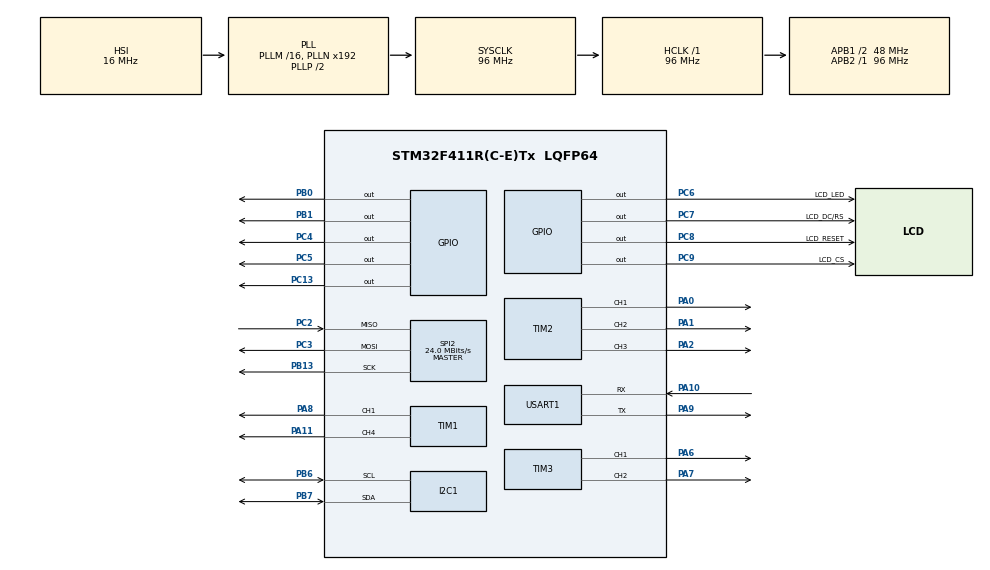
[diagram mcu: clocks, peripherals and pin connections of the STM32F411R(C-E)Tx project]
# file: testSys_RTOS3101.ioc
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FREERTOS.Tasks01=Task1,0,128,StartTask1,Default,NULL,Dynamic,NULL,NULL;Task2,-3,128,StartTask02,Default,NULL,Dynamic,NULL,NULL
Mcu.Family=STM32F4
Mcu.Name=STM32F411R(C-E)Tx
Mcu.Package=LQFP64
NVIC.PriorityGroup=NVIC_PRIORITYGROUP_4
NVIC.SPI2_IRQn=true\:5\:0\:false\:false\:true\:true\:true\:true
NVIC.TIM2_IRQn=true\:5\:0\:true\:false\:true\:false\:true\:true
NVIC.TIM3_IRQn=true\:5\:0\:false\:false\:true\:true\:true\:true
NVIC.TIM4_IRQn=true\:0\:0\:false\:false\:true\:false\:false\:true
NVIC.TimeBase=TIM4_IRQn
NVIC.TimeBaseIP=TIM4
NVIC.USART1_IRQn=true\:5\:0\:false\:false\:true\:true\:true\:true
PA0-WKUP.Signal=S_TIM2_CH1_ETR
PA1.Signal=S_TIM2_CH2
PA10.Mode=Asynchronous
PA10.Signal=USART1_RX
PA11.Signal=S_TIM1_CH4
PA2.Signal=S_TIM2_CH3
PA6.Signal=S_TIM3_CH1
PA7.Signal=S_TIM3_CH2
PA8.Signal=S_TIM1_CH1
PA9.Mode=Asynchronous
PA9.Signal=USART1_TX
PB0.Signal=GPIO_Output
PB1.Signal=GPIO_Output
PB13.Mode=Full_Duplex_Master
PB13.Signal=SPI2_SCK
PB6.Mode=I2C
PB6.Signal=I2C1_SCL
PB7.Mode=I2C
PB7.Signal=I2C1_SDA
PC13-ANTI_TAMP.Signal=GPIO_Output
PC2.Mode=Full_Duplex_Master
PC2.Signal=SPI2_MISO
PC3.Mode=Full_Duplex_Master
PC3.Signal=SPI2_MOSI
PC4.Signal=GPIO_Output
PC5.Signal=GPIO_Output
PC6.GPIO_Label=LCD_LED
PC6.GPIO_ModeDefaultOutputPP=GPIO_MODE_OUTPUT_PP
PC6.GPIO_PuPd=GPIO_NOPULL
PC6.GPIO_Speed=GPIO_SPEED_FREQ_LOW
PC6.PinState=GPIO_PIN_SET
PC6.Signal=GPIO_Output
PC7.GPIO_Label=LCD_DC/RS
PC7.GPIO_ModeDefaultOutputPP=GPIO_MODE_OUTPUT_PP
PC7.GPIO_PuPd=GPIO_NOPULL
PC7.GPIO_Speed=GPIO_SPEED_FREQ_LOW
PC7.PinState=GPIO_PIN_SET
PC7.Signal=GPIO_Output
PC8.GPIO_Label=LCD_RESET
PC8.GPIO_ModeDefaultOutputPP=GPIO_MODE_OUTPUT_PP
PC8.GPIO_PuPd=GPIO_NOPULL
PC8.GPIO_Speed=GPIO_SPEED_FREQ_LOW
PC8.PinState=GPIO_PIN_SET
PC8.Signal=GPIO_Output
PC9.GPIO_Label=LCD_CS
PC9.GPIO_ModeDefaultOutputPP=GPIO_MODE_OUTPUT_PP
PC9.GPIO_PuPd=GPIO_NOPULL
PC9.GPIO_Speed=GPIO_SPEED_FREQ_LOW
PC9.PinState=GPIO_PIN_SET
PC9.Signal=GPIO_Output
PH0\ -\ OSC_IN.Mode=HSE-External-Oscillator
PH0\ -\ OSC_IN.Signal=RCC_OSC_IN
PH1\ -\ OSC_OUT.Mode=HSE-External-Oscillator
PH1\ -\ OSC_OUT.Signal=RCC_OSC_OUT
ProjectManager.HeapSize=0x200
ProjectManager.StackSize=0x400
ProjectManager.TargetToolchain=STM32CubeIDE
RCC.48MHZClocksFreq_Value=48000000
RCC.AHBFreq_Value=96000000
RCC.APB1CLKDivider=RCC_HCLK_DIV2
RCC.APB1Freq_Value=48000000
RCC.APB1TimFreq_Value=96000000
RCC.APB2Freq_Value=96000000
RCC.APB2TimFreq_Value=96000000
RCC.CortexFreq_Value=96000000
RCC.HCLKFreq_Value=96000000
RCC.HSE_VALUE=25000000
RCC.HSI_VALUE=16000000
RCC.LSE_VALUE=32768
RCC.SYSCLKFreq_VALUE=96000000
RCC.SYSCLKSource=RCC_SYSCLKSOURCE_PLLCLK
RCC.VCOOutputFreq_Value=192000000
SH.S_TIM1_CH1.0=TIM1_CH1,PWM Generation1 CH1
SH.S_TIM1_CH4.0=TIM1_CH4,PWM Generation4 CH4
SH.S_TIM2_CH1_ETR.0=TIM2_CH1,PWM Generation1 CH1
SH.S_TIM2_CH2.0=TIM2_CH2,PWM Generation2 CH2
SH.S_TIM2_CH3.0=TIM2_CH3,PWM Generation3 CH3
SH.S_TIM3_CH1.0=TIM3_CH1,PWM Generation1 CH1
SH.S_TIM3_CH2.0=TIM3_CH2,PWM Generation2 CH2
SPI2.BaudRatePrescaler=SPI_BAUDRATEPRESCALER_2
SPI2.CalculateBaudRate=24.0 MBits/s
SPI2.Direction=SPI_DIRECTION_2LINES
SPI2.Mode=SPI_MODE_MASTER
SPI2.VirtualType=VM_MASTER
TIM1.Channel-PWM\ Generation1\ CH1=TIM_CHANNEL_1
TIM1.Channel-PWM\ Generation4\ CH4=TIM_CHANNEL_4
TIM2.Channel-PWM\ Generation1\ CH1=TIM_CHANNEL_1
TIM2.Channel-PWM\ Generation2\ CH2=TIM_CHANNEL_2
TIM2.Channel-PWM\ Generation3\ CH3=TIM_CHANNEL_3
TIM3.Channel-PWM\ Generation1\ CH1=TIM_CHANNEL_1
TIM3.Channel-PWM\ Generation2\ CH2=TIM_CHANNEL_2
USART1.VirtualMode=VM_ASYNC
VP_FREERTOS_VS_CMSIS_V1.Mode=CMSIS_V1
VP_SYS_VS_tim4.Mode=TIM4
board=custom

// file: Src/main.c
/* USER CODE BEGIN Header */
/**
  ******************************************************************************
  * @file           : main.c
  * @brief          : Main program body
  ******************************************************************************
  * @attention
  *
  * <h2><center>&copy; Copyright (c) 2020 STMicroelectronics.
  * All rights reserved.</center></h2>
  *
  * This software component is licensed by ST under Ultimate Liberty license
  * SLA0044, the "License"; You may not use this file except in compliance with
  * the License. You may obtain a copy of the License at:
  *                             www.st.com/SLA0044
  *
  ******************************************************************************
  */
/* USER CODE END Header */

#include "main.h"
#include "cmsis_os.h"
#include"string.h"
#include "stm32f4xx_hal.h"
#include "tft_spi.h"
#include "myimage.h"
#include "stdio.h"
#include "stdlib.h"
#include "stdbool.h"

I2C_HandleTypeDef hi2c1;

SPI_HandleTypeDef hspi2;

TIM_HandleTypeDef htim1;
TIM_HandleTypeDef htim2;
TIM_HandleTypeDef htim3;

UART_HandleTypeDef huart1;

osThreadId Task1Handle;
osThreadId Task2Handle;

/* USER CODE BEGIN PV */
extern uint16_t BACK_COLOR, POINT_COLOR;
/* USER CODE END PV */

void SystemClock_Config(void);
static void MX_GPIO_Init(void);
static void MX_I2C1_Init(void);
static void MX_SPI2_Init(void);
static void MX_TIM1_Init(void);
static void MX_TIM2_Init(void);
static void MX_TIM3_Init(void);
static void MX_USART1_UART_Init(void);
void StartTask1(void const * argument);
void StartTask02(void const * argument);
void IAQform(void);
void FrameUART(void);
void Convertvalue(void);
void CheckUART(void);

/* USER CODE BEGIN PFP */
uint16_t count=0;
char buffer5[20];
int tmpIntPM1,tmpIntte1,tmpInthu1,tmpIntPM2,tmpIntte2,tmpInthu2;
//uint8_t rxBuffer[4];
uint8_t frame[60];
uint8_t tempe1[5] = "";
uint8_t tempe2[5] = "";
uint8_t humi1[5] = "";
uint8_t humi2[5] = "";
uint8_t CO2[5] = "";
uint8_t VOC[5] = "";
uint8_t PM251[5] = "";
uint8_t PM252[5] = "";
char  Rx_data[2], Rx_Buffer[40], Transfer_cplt;
char buffer[20],buffer1[20],buffer2[20],buffer3[20],buffer4[20];
int tmpInt1,tmpInt2;
uint16_t i = 0;
int16_t err;
uint16_t tvoc_ppb = 1, co2_ppm = 2;
uint32_t iaq_baseline;
int32_t temperature, humidity;
float temp, hum;
float PM25;
int16_t ret;
//Động cơ
int speed ;
int power;
int Vanst = 0;
// mode
int nightmode ;
int filmode;
int ctrmode;
bool huong;
int Rx_indx = 0;
uint8_t rxBuffer[4];
uint16_t val[5];
int test = 12345;
/* USER CODE END PFP */

int main(void)
{

  /* MCU Configuration--------------------------------------------------------*/

  /* Reset of all peripherals, Initializes the Flash interface and the Systick. */
  HAL_Init();

  /* Configure the system clock */
  SystemClock_Config();

  /* Initialize all configured peripherals */
  MX_GPIO_Init();
  MX_I2C1_Init();
  MX_SPI2_Init();
  MX_TIM1_Init();
  MX_TIM2_Init();
  MX_TIM3_Init();
  MX_USART1_UART_Init();

  /* USER CODE BEGIN 2 */
   tft_init();
   tft_puts_image(vht1);
   HAL_Delay(3000);
   tft_fill(0,0,320,240,BLACK);
   HAL_UART_Receive_IT(&huart1, Rx_data, 1);
   // set PWM cho tốc độ động cơ quạt là trung bình
      speed = 1;
      power = 0;
      ctrmode = 0;
      filmode = 0;
      nightmode = 0;

  /* USER CODE END 2 */

  /* Create the thread(s) */
  /* definition and creation of Task1 */
  osThreadDef(Task1, StartTask1, osPriorityNormal, 0, 128);
  Task1Handle = osThreadCreate(osThread(Task1), NULL);

  /* definition and creation of Task2 */
  osThreadDef(Task2, StartTask02, osPriorityIdle, 0, 128);
  Task2Handle = osThreadCreate(osThread(Task2), NULL);

  /* Start scheduler */
  osKernelStart();

  /* We should never get here as control is now taken by the scheduler */

  /* Infinite loop */
  while (1)
  {

  }
}

void SystemClock_Config(void)
{
  RCC_OscInitTypeDef RCC_OscInitStruct = {0};
  RCC_ClkInitTypeDef RCC_ClkInitStruct = {0};

  /** Configure the main internal regulator output voltage
  */
  __HAL_RCC_PWR_CLK_ENABLE();
  __HAL_PWR_VOLTAGESCALING_CONFIG(PWR_REGULATOR_VOLTAGE_SCALE1);
  /** Initializes the CPU, AHB and APB busses clocks
  */
  RCC_OscInitStruct.OscillatorType = RCC_OSCILLATORTYPE_HSI;
  RCC_OscInitStruct.HSIState = RCC_HSI_ON;
  RCC_OscInitStruct.HSICalibrationValue = RCC_HSICALIBRATION_DEFAULT;
  RCC_OscInitStruct.PLL.PLLState = RCC_PLL_ON;
  RCC_OscInitStruct.PLL.PLLSource = RCC_PLLSOURCE_HSI;
  RCC_OscInitStruct.PLL.PLLM = 16;
  RCC_OscInitStruct.PLL.PLLN = 192;
  RCC_OscInitStruct.PLL.PLLP = RCC_PLLP_DIV2;
  RCC_OscInitStruct.PLL.PLLQ = 4;
  if (HAL_RCC_OscConfig(&RCC_OscInitStruct) != HAL_OK)
  {
    Error_Handler();
  }
  /** Initializes the CPU, AHB and APB busses clocks
  */
  RCC_ClkInitStruct.ClockType = RCC_CLOCKTYPE_HCLK|RCC_CLOCKTYPE_SYSCLK
                              |RCC_CLOCKTYPE_PCLK1|RCC_CLOCKTYPE_PCLK2;
  RCC_ClkInitStruct.SYSCLKSource = RCC_SYSCLKSOURCE_PLLCLK;
  RCC_ClkInitStruct.AHBCLKDivider = RCC_SYSCLK_DIV1;
  RCC_ClkInitStruct.APB1CLKDivider = RCC_HCLK_DIV2;
  RCC_ClkInitStruct.APB2CLKDivider = RCC_HCLK_DIV1;

  if (HAL_RCC_ClockConfig(&RCC_ClkInitStruct, FLASH_LATENCY_3) != HAL_OK)
  {
    Error_Handler();
  }
}

static void MX_I2C1_Init(void)
{

  hi2c1.Instance = I2C1;
  hi2c1.Init.ClockSpeed = 100000;
  hi2c1.Init.DutyCycle = I2C_DUTYCYCLE_2;
  hi2c1.Init.OwnAddress1 = 0;
  hi2c1.Init.AddressingMode = I2C_ADDRESSINGMODE_7BIT;
  hi2c1.Init.DualAddressMode = I2C_DUALADDRESS_DISABLE;
  hi2c1.Init.OwnAddress2 = 0;
  hi2c1.Init.GeneralCallMode = I2C_GENERALCALL_DISABLE;
  hi2c1.Init.NoStretchMode = I2C_NOSTRETCH_DISABLE;
  if (HAL_I2C_Init(&hi2c1) != HAL_OK)
  {
    Error_Handler();
  }

}

static void MX_SPI2_Init(void)
{

  /* SPI2 parameter configuration*/
  hspi2.Instance = SPI2;
  hspi2.Init.Mode = SPI_MODE_MASTER;
  hspi2.Init.Direction = SPI_DIRECTION_2LINES;
  hspi2.Init.DataSize = SPI_DATASIZE_8BIT;
  hspi2.Init.CLKPolarity = SPI_POLARITY_LOW;
  hspi2.Init.CLKPhase = SPI_PHASE_1EDGE;
  hspi2.Init.NSS = SPI_NSS_SOFT;
  hspi2.Init.BaudRatePrescaler = SPI_BAUDRATEPRESCALER_2;
  hspi2.Init.FirstBit = SPI_FIRSTBIT_MSB;
  hspi2.Init.TIMode = SPI_TIMODE_DISABLE;
  hspi2.Init.CRCCalculation = SPI_CRCCALCULATION_DISABLE;
  hspi2.Init.CRCPolynomial = 10;
  if (HAL_SPI_Init(&hspi2) != HAL_OK)
  {
    Error_Handler();
  }

}

static void MX_TIM1_Init(void)
{

  TIM_MasterConfigTypeDef sMasterConfig = {0};
  TIM_OC_InitTypeDef sConfigOC = {0};
  TIM_BreakDeadTimeConfigTypeDef sBreakDeadTimeConfig = {0};

  htim1.Instance = TIM1;
  htim1.Init.Prescaler = 0;
  htim1.Init.CounterMode = TIM_COUNTERMODE_UP;
  htim1.Init.Period = 0;
  htim1.Init.ClockDivision = TIM_CLOCKDIVISION_DIV1;
  htim1.Init.RepetitionCounter = 0;
  htim1.Init.AutoReloadPreload = TIM_AUTORELOAD_PRELOAD_DISABLE;
  if (HAL_TIM_PWM_Init(&htim1) != HAL_OK)
  {
    Error_Handler();
  }
  sMasterConfig.MasterOutputTrigger = TIM_TRGO_RESET;
  sMasterConfig.MasterSlaveMode = TIM_MASTERSLAVEMODE_DISABLE;
  if (HAL_TIMEx_MasterConfigSynchronization(&htim1, &sMasterConfig) != HAL_OK)
  {
    Error_Handler();
  }
  sConfigOC.OCMode = TIM_OCMODE_PWM1;
  sConfigOC.Pulse = 0;
  sConfigOC.OCPolarity = TIM_OCPOLARITY_HIGH;
  sConfigOC.OCNPolarity = TIM_OCNPOLARITY_HIGH;
  sConfigOC.OCFastMode = TIM_OCFAST_DISABLE;
  sConfigOC.OCIdleState = TIM_OCIDLESTATE_RESET;
  sConfigOC.OCNIdleState = TIM_OCNIDLESTATE_RESET;
  if (HAL_TIM_PWM_ConfigChannel(&htim1, &sConfigOC, TIM_CHANNEL_1) != HAL_OK)
  {
    Error_Handler();
  }
  if (HAL_TIM_PWM_ConfigChannel(&htim1, &sConfigOC, TIM_CHANNEL_4) != HAL_OK)
  {
    Error_Handler();
  }
  sBreakDeadTimeConfig.OffStateRunMode = TIM_OSSR_DISABLE;
  sBreakDeadTimeConfig.OffStateIDLEMode = TIM_OSSI_DISABLE;
  sBreakDeadTimeConfig.LockLevel = TIM_LOCKLEVEL_OFF;
  sBreakDeadTimeConfig.DeadTime = 0;
  sBreakDeadTimeConfig.BreakState = TIM_BREAK_DISABLE;
  sBreakDeadTimeConfig.BreakPolarity = TIM_BREAKPOLARITY_HIGH;
  sBreakDeadTimeConfig.AutomaticOutput = TIM_AUTOMATICOUTPUT_DISABLE;
  if (HAL_TIMEx_ConfigBreakDeadTime(&htim1, &sBreakDeadTimeConfig) != HAL_OK)
  {
    Error_Handler();
  }
  HAL_TIM_MspPostInit(&htim1);

}

static void MX_TIM2_Init(void)
{

  TIM_MasterConfigTypeDef sMasterConfig = {0};
  TIM_OC_InitTypeDef sConfigOC = {0};

  htim2.Instance = TIM2;
  htim2.Init.Prescaler = 0;
  htim2.Init.CounterMode = TIM_COUNTERMODE_UP;
  htim2.Init.Period = 0;
  htim2.Init.ClockDivision = TIM_CLOCKDIVISION_DIV1;
  htim2.Init.AutoReloadPreload = TIM_AUTORELOAD_PRELOAD_DISABLE;
  if (HAL_TIM_PWM_Init(&htim2) != HAL_OK)
  {
    Error_Handler();
  }
  sMasterConfig.MasterOutputTrigger = TIM_TRGO_RESET;
  sMasterConfig.MasterSlaveMode = TIM_MASTERSLAVEMODE_DISABLE;
  if (HAL_TIMEx_MasterConfigSynchronization(&htim2, &sMasterConfig) != HAL_OK)
  {
    Error_Handler();
  }
  sConfigOC.OCMode = TIM_OCMODE_PWM1;
  sConfigOC.Pulse = 0;
  sConfigOC.OCPolarity = TIM_OCPOLARITY_HIGH;
  sConfigOC.OCFastMode = TIM_OCFAST_DISABLE;
  if (HAL_TIM_PWM_ConfigChannel(&htim2, &sConfigOC, TIM_CHANNEL_1) != HAL_OK)
  {
    Error_Handler();
  }
  if (HAL_TIM_PWM_ConfigChannel(&htim2, &sConfigOC, TIM_CHANNEL_2) != HAL_OK)
  {
    Error_Handler();
  }
  if (HAL_TIM_PWM_ConfigChannel(&htim2, &sConfigOC, TIM_CHANNEL_3) != HAL_OK)
  {
    Error_Handler();
  }
  HAL_TIM_MspPostInit(&htim2);

}

static void MX_TIM3_Init(void)
{

  TIM_MasterConfigTypeDef sMasterConfig = {0};
  TIM_OC_InitTypeDef sConfigOC = {0};

  htim3.Instance = TIM3;
  htim3.Init.Prescaler = 0;
  htim3.Init.CounterMode = TIM_COUNTERMODE_UP;
  htim3.Init.Period = 0;
  htim3.Init.ClockDivision = TIM_CLOCKDIVISION_DIV1;
  htim3.Init.AutoReloadPreload = TIM_AUTORELOAD_PRELOAD_DISABLE;
  if (HAL_TIM_PWM_Init(&htim3) != HAL_OK)
  {
    Error_Handler();
  }
  sMasterConfig.MasterOutputTrigger = TIM_TRGO_RESET;
  sMasterConfig.MasterSlaveMode = TIM_MASTERSLAVEMODE_DISABLE;
  if (HAL_TIMEx_MasterConfigSynchronization(&htim3, &sMasterConfig) != HAL_OK)
  {
    Error_Handler();
  }
  sConfigOC.OCMode = TIM_OCMODE_PWM1;
  sConfigOC.Pulse = 0;
  sConfigOC.OCPolarity = TIM_OCPOLARITY_HIGH;
  sConfigOC.OCFastMode = TIM_OCFAST_DISABLE;
  if (HAL_TIM_PWM_ConfigChannel(&htim3, &sConfigOC, TIM_CHANNEL_1) != HAL_OK)
  {
    Error_Handler();
  }
  if (HAL_TIM_PWM_ConfigChannel(&htim3, &sConfigOC, TIM_CHANNEL_2) != HAL_OK)
  {
    Error_Handler();
  }
  HAL_TIM_MspPostInit(&htim3);

}

static void MX_USART1_UART_Init(void)
{

  huart1.Instance = USART1;
  huart1.Init.BaudRate = 115200;
  huart1.Init.WordLength = UART_WORDLENGTH_8B;
  huart1.Init.StopBits = UART_STOPBITS_1;
  huart1.Init.Parity = UART_PARITY_NONE;
  huart1.Init.Mode = UART_MODE_TX_RX;
  huart1.Init.HwFlowCtl = UART_HWCONTROL_NONE;
  huart1.Init.OverSampling = UART_OVERSAMPLING_16;
  if (HAL_UART_Init(&huart1) != HAL_OK)
  {
    Error_Handler();
  }

}

static void MX_GPIO_Init(void)
{
  GPIO_InitTypeDef GPIO_InitStruct = {0};

  /* GPIO Ports Clock Enable */
  __HAL_RCC_GPIOC_CLK_ENABLE();
  __HAL_RCC_GPIOH_CLK_ENABLE();
  __HAL_RCC_GPIOA_CLK_ENABLE();
  __HAL_RCC_GPIOB_CLK_ENABLE();

  /*Configure GPIO pin Output Level */
  HAL_GPIO_WritePin(GPIOC, GPIO_PIN_13|GPIO_PIN_4|GPIO_PIN_5, GPIO_PIN_RESET);

  /*Configure GPIO pin Output Level */
  HAL_GPIO_WritePin(GPIOB, GPIO_PIN_0|GPIO_PIN_1, GPIO_PIN_RESET);

  /*Configure GPIO pin Output Level */
  HAL_GPIO_WritePin(GPIOC, LCD_LED_Pin|LCD_DC_RS_Pin|LCD_RESET_Pin|LCD_CS_Pin, GPIO_PIN_SET);

  /*Configure GPIO pins : PC13 PC4 PC5 LCD_LED_Pin
                           LCD_DC_RS_Pin LCD_RESET_Pin LCD_CS_Pin */
  GPIO_InitStruct.Pin = GPIO_PIN_13|GPIO_PIN_4|GPIO_PIN_5|LCD_LED_Pin
                          |LCD_DC_RS_Pin|LCD_RESET_Pin|LCD_CS_Pin;
  GPIO_InitStruct.Mode = GPIO_MODE_OUTPUT_PP;
  GPIO_InitStruct.Pull = GPIO_NOPULL;
  GPIO_InitStruct.Speed = GPIO_SPEED_FREQ_LOW;
  HAL_GPIO_Init(GPIOC, &GPIO_InitStruct);

  /*Configure GPIO pins : PB0 PB1 */
  GPIO_InitStruct.Pin = GPIO_PIN_0|GPIO_PIN_1;
  GPIO_InitStruct.Mode = GPIO_MODE_OUTPUT_PP;
  GPIO_InitStruct.Pull = GPIO_NOPULL;
  GPIO_InitStruct.Speed = GPIO_SPEED_FREQ_LOW;
  HAL_GPIO_Init(GPIOB, &GPIO_InitStruct);

}

void HAL_UART_RxCpltCallback(UART_HandleTypeDef *huart)
{
    uint8_t i;
    if (huart->Instance == USART1)  //Xét UART nhận dữ liệu
        {
        if (Rx_indx==0 && Transfer_cplt==0) {for (i=0;i<100;i++) Rx_Buffer[i]=0;}   //clear Rx_buffer trước khi nhận dữ liệu mới

        if (Rx_data[0]!='\n') //Nếu nhận dữ liệu là khác dấu xuống dòng
            {
            Rx_Buffer[Rx_indx++]=Rx_data[0];    //thêm dữ liệu vào Rx_Buffer
            }
        else            //nếu là dấu xuống dòng \n thì hoàn thành việc đọc 1 khung truyền
            {
            Rx_indx=0;
            Transfer_cplt=1;//Cờ báo hiệu đã chuyển dữ liệu xong và tiến hành đọc dữ liệu
            }

        HAL_UART_Receive_IT(&huart1, Rx_data, 1);   //Kích hoạt ngắt UART mỗi data nhận được
        }

}

void StartTask1(void const * argument)
{

  /* USER CODE BEGIN 5 */
  /* Infinite loop */
  for(;;)
  {
	count++;
	sprintf(buffer5,"%d",count);
	CheckUART();
	POINT_COLOR=CYAN;
	tft_fill(0,0,320,240,BLACK);
	tft_puts26x48(58,3,(int8_t*)" Viettel",TFT_STRING_MODE_NO_BACKGROUND);
	tft_puts26x48(58,5,(int8_t*)" Viettel",TFT_STRING_MODE_NO_BACKGROUND);
	CheckUART();
    osDelay(1000);
  }
  /* USER CODE END 5 */
}

void StartTask02(void const * argument)
{
  /* USER CODE BEGIN StartTask02 */
  /* Infinite loop */
  for(;;)
  {

	tft_fill(0,0,320,240,BLACK);
	POINT_COLOR=CYAN;
	IAQform();
	tft_puts26x48(160,90,(int8_t*)buffer5,TFT_STRING_MODE_BACKGROUND);
	//tft_puts18x32(160,3,(int8_t*)"PRODUCTS",TFT_STRING_MODE_NO_BACKGROUND);
	if (count >= 50 && count < 60){
		Convertvalue();
		FrameUART();
		HAL_UART_Transmit(&huart1, (char *) &frame, sizeof(frame), HAL_MAX_DELAY);
	}
    osDelay(1000);
  }
  /* USER CODE END StartTask02 */
}

void IAQform(void){

	  tft_draw_circle(150,119,87);
	  tft_draw_circle(150,119,88);
	  tft_draw_circle(150,119,89);
	  tft_draw_circle(150,119,90);
	  tft_draw_circle(150,119,91);
	  tft_draw_circle(150,119,92);

	  tft_puts26x48(100,80,(int8_t*)"IAQ",TFT_STRING_MODE_NO_BACKGROUND);
	  tft_puts26x48(100,81,(int8_t*)"IAQ",TFT_STRING_MODE_NO_BACKGROUND);

	  POINT_COLOR=GBLUE;
	  tft_puts8x16(17,3,(int8_t*)"VIETTEL HIGH TECHNOLOGY",TFT_STRING_MODE_NO_BACKGROUND);
}

void Convertvalue(void){

	PM25 = 22.33;
	tmpIntPM1 = (int)PM25;
	float tmpFPM = PM25 - tmpIntPM1;
	tmpIntPM2 = trunc(tmpFPM * 100);
	temperature = 9977;
	temp = (float)(temperature/1000.0f);
	tmpIntte1 = (int)temp;
	float tmpT = temp - tmpIntte1;
	tmpIntte2 = trunc(tmpT * 100);
	humidity = 9876;
	hum = (float)(humidity/1000.0f);
	tmpInthu1 = (int) hum;
	float tmpH = hum - tmpInthu1;
	tmpInthu2 = trunc(tmpH * 100);
}

/* Tạo Khung truyền với các giá trị lấy từ cảm biến và động cơ */
void FrameUART(void){
		itoa(tmpIntte1,(char*)tempe1,10);
		itoa(tmpIntte2,(char*)tempe2,10);
		itoa(tmpInthu1,(char*)humi1,10);
		itoa(tmpInthu2,(char*)humi2,10);
		itoa(co2_ppm,(char*)CO2,10);
		itoa(tvoc_ppb,(char*)VOC,10);
		itoa(tmpIntPM1,(char*)PM251,10);
		itoa(tmpIntPM2,(char*)PM252,10);

	   strcpy((char *) frame, (char *) "TE");
	   strcat((char *) frame,(char *) tempe1);
	   strcat((char *) frame, (char *) ":");
	   strcat((char *) frame, (char *) "A");
	   strcat((char *) frame,(char *) tempe2);
	   strcat((char *) frame, (char *) ":");
	   strcat((char *) frame, (char *) "HU");
	   strcat((char *) frame, (char *) humi1 );
	   strcat((char *) frame, (char *) ":");
	   strcat((char *) frame, (char *) "Q");
	   strcat((char *) frame, (char *) humi2 );
	   strcat((char *) frame, (char *) ":");
	   strcat((char *) frame, (char *) "CO");
	   strcat((char *) frame, (char *) CO2 );
	   strcat((char *) frame, (char *) ":");
	   strcat((char *) frame, (char *) "VO");
	   strcat((char *) frame, (char *) VOC );
	   strcat((char *) frame, (char *) ":");
	   strcat((char *) frame, (char *) "PM");
	   strcat((char *) frame, (char *) PM251 );
	   strcat((char *) frame, (char *) ":");
	   strcat((char *) frame, (char *) "S");
	   strcat((char *) frame, (char *) PM252 );
	   strcat((char *) frame, (char *) ":");
	   strcat((char *) frame, (char *) "PO");
	   if (power == 1)
	   strcat((char *) frame, (char *) "1" );
	   else if (power == 0)
	   strcat((char *) frame, (char *) "0" );
	   strcat((char *) frame, (char *) ":");
	   strcat((char *) frame, (char *) "SP");
	   if(speed == 0)
		   strcat((char *) frame, (char *) "0" );
	   else if(speed == 1)
		   strcat((char *) frame, (char *) "1" );
	   else if(speed == 2)
		   strcat((char *) frame, (char *) "2" );
	   else if(speed == 3)
		   strcat((char *) frame, (char *) "3" );
	   strcat((char *) frame, (char *) ":");
	   strcat((char *) frame, (char *) "NIGH");
	   if (nightmode ==0){
		   strcat((char *) frame, (char *) "0" );
	   }
	   else if (nightmode == 1){
		   strcat((char *) frame, (char *) "1" );
	   }
	   strcat((char *) frame, (char *) ":");
	   strcat((char *) frame, (char *) "FILT");
	   if (filmode ==0){
			strcat((char *) frame, (char *) "0" );
		   }
	   else if (filmode == 1){
			strcat((char *) frame, (char *) "1" );
		   }
	   strcat((char *) frame, (char *) ":");
		   strcat((char *) frame, (char *) "CTRL");
		   if (ctrmode ==0){
				strcat((char *) frame, (char *) "0" );
			   }
		   else if (ctrmode == 1){
				strcat((char *) frame, (char *) "1" );
			   }
	   strcat((char *) frame, (char *) "\n");
}

void CheckUART(void){
	if(Transfer_cplt){

	  for (int i =0; i<=strlen(Rx_Buffer); i++){
		  if(Rx_Buffer[i] =='h' && Rx_Buffer[i+1]=='i'){ // Nhận nút điều khiển động cơ hight từ App

			  speed = 3;
			 // fan_1_run(hightspeed);
			 // fan_2_run(hightspeed);
			 // num = SPEED_HIGHT;
			  __HAL_TIM_SET_COUNTER(&htim2, 0);
			//  FLAG=1;
			 // FLAG1=1;
			 // FLAG2=1;
			//  FLAG3=1;
			//  FLAG4=1;
			  // Set tốc độ động cơ PWM ở đây
		  }
		  else if(Rx_Buffer[i] =='l' && Rx_Buffer[i+1]=='o'&& Rx_Buffer[i+2]=='w'){ // Nhận nút điều khiển động cơ low từ app

			  speed = 1;
			 // fan_1_run(lowspeed);
			 // fan_2_run(lowspeed);
			 // num = SPEED_LOW;
			  __HAL_TIM_SET_COUNTER(&htim2, 0);
			 // FLAG=1;
			 // FLAG1=1;
			 // FLAG2=1;
			 // FLAG3=1;
			 // FLAG4=1;
			 // Set tốc độ động cơ PWM ở đây
		 }
		  else if(Rx_Buffer[i] =='m' && Rx_Buffer[i+1]=='e'&& Rx_Buffer[i+2]=='d'){ // Nhận nút điều khiển động cơ med từ app

			  speed = 2;
			 // fan_1_run(medspeed);
			 // fan_2_run(medspeed);
			  //num = SPEED_MEDIUM;
			  __HAL_TIM_SET_COUNTER(&htim2, 0);
			 // FLAG=1;
			  //FLAG1=1;
			 // FLAG2=1;
			 // FLAG3=1;
			 // FLAG4=1;
			 // Set tốc độ động cơ PWM ở đây
		 }
	  //}
	 //for (int i =0; i<=strlen(Rx_Buffer); i++){
		 if(Rx_Buffer[i] =='P' && Rx_Buffer[i+1]=='O'&& Rx_Buffer[i+2]=='N'){

			 power = 1;
			 speed = 2;
			// fan_1_run(medspeed);
			// fan_2_run(medspeed);
			// num = POWER_ON;
			 __HAL_TIM_SET_COUNTER(&htim2, 0);
			 // FLAG=1;
			 // FLAG1=1;
			 // FLAG2=1;
			 // FLAG3=1;
			 // FLAG4=1;
			 // Set tốc độ động cơ PWM ở đây
			 // Set van khí ở đây
		 }
		 else if(Rx_Buffer[i] =='P' && Rx_Buffer[i+1]=='O'&& Rx_Buffer[i+2]=='F'){

			 power = 0;
			 speed = 0;
			// fan_1_run(100);
			// fan_2_run(100);
			// num = POWER_OFF;
			 __HAL_TIM_SET_COUNTER(&htim2, 0);
			 // FLAG=1;
			 // FLAG1=1;
			 // FLAG2=1;
			 // FLAG3=1;
			//  FLAG4=1;
			 //Tắt động cơ và đóng van khí ở đây
		 }
	// }
	// for (int i =0; i<=strlen(Rx_Buffer); i++){
	 		 if(Rx_Buffer[i] =='n' && Rx_Buffer[i+1]=='i'&& Rx_Buffer[i+2]=='g'){

	 			 nightmode = 1;
	 			// fan_1_run(lowspeed);
	 			// fan_2_run(lowspeed);
	 			// num = NIGHT_ON;
	 			 __HAL_TIM_SET_COUNTER(&htim2, 0);
	 			//  FLAG=1;
				//  FLAG1=1;
				//  FLAG2=1;
				//  FLAG3=1;
				//  FLAG4=1;
	 		 }
	 		 else if(Rx_Buffer[i] =='d' && Rx_Buffer[i+1]=='a'&& Rx_Buffer[i+2]=='y'){

	 			nightmode = 0;
	 			//fan_1_run(medspeed);
	 			//fan_2_run(medspeed);
	 			//num = NIGHT_OFF;
	 			 __HAL_TIM_SET_COUNTER(&htim2, 0);
	 			 // FLAG=1;
				  //FLAG1=1;
				 // FLAG2=1;
				//  FLAG3=1;
				 // FLAG4=1;
	 		 }
	 	//}
	 	//for (int i =0; i<=strlen(Rx_Buffer); i++){
	 		if(Rx_Buffer[i] =='f' && Rx_Buffer[i+1]=='r'&& Rx_Buffer[i+2]=='e'){

	 			filmode = 1;
	 			//num = FRESH_AIR;
	 			 __HAL_TIM_SET_COUNTER(&htim2, 0);
	 			//  FLAG=1;
				//  FLAG1=1;
				//  FLAG2=1;
				//  FLAG3=1;
				//  FLAG4=1;
				//  Vanst = 1;

	 			//đk van mở van
	 		 }
	 		else if(Rx_Buffer[i] =='i' && Rx_Buffer[i+1]=='n'&& Rx_Buffer[i+2]=='d'){

	 			filmode = 0;
	 			//num = INDOOR;
	 			 __HAL_TIM_SET_COUNTER(&htim2, 0);
	 			 // FLAG=1;
				 // FLAG1=1;
				//  FLAG2=1;
				//  FLAG3=1;
				//  FLAG4=1;
				//  Vanst = 0;
	 			//đk van đóng
	 		}
	 	//}
	 	//for (int i =0; i<=strlen(Rx_Buffer); i++){ // chế độ auto
	 		if(Rx_Buffer[i] =='m' && Rx_Buffer[i+1]=='a'&& Rx_Buffer[i+2]=='n'){

	 			ctrmode = 1;
	 			//num = MANUAL;
	 			 __HAL_TIM_SET_COUNTER(&htim2, 0);
	 			//  FLAG=1;
				//  FLAG1=1;
				//  FLAG2=1;
				//  FLAG3=1;
				//  FLAG4=1;
	 		}
	 		else if(Rx_Buffer[i] =='a' && Rx_Buffer[i+1]=='u'&& Rx_Buffer[i+2]=='t'){ // chế độ manual

	 			ctrmode = 0;
	 			//num = AUTO;
	 			 __HAL_TIM_SET_COUNTER(&htim2, 0);
	 			//  FLAG=1;
				//  FLAG1=1;
				//  FLAG2=1;
				//  FLAG3=1;
				//  FLAG4=1;
	 		}
	 	}
	  for (int i =0; i<=strlen(Rx_Buffer); i++){
		  if(Rx_Buffer[i] =='s' && Rx_Buffer[i+1]=='t'&& Rx_Buffer[i+2]=='a'){
			 //Đọc giá trị từ cảm biến
			 // ret = sps30_read_measurement(&m);
			 // if (ret < 0) {
				// PM25 = PM25;
							  //error
			 // } else {
			//	 PM25 = m.mc_2p5;
			//  }
			//  err = svm_measure_iaq_blocking_read(&tvoc_ppb, &co2_ppm, &temperature, &humidity);

			 // if (err == STATUS_OK) {
					//lay thanh cong
			//  } else {
				//	co2_ppm = co2_ppm;
				//	temperature = temperature;
				//	humidity = humidity;
				//	tvoc_ppb = tvoc_ppb;
					//khong the doc tu cam bien
			  //}

			  Convertvalue();
			  FrameUART();
			  HAL_UART_Transmit(&huart1, (char *) &frame, sizeof(frame), HAL_MAX_DELAY);
		   }
	  }

	  Transfer_cplt = 0;
	  HAL_Delay(400);
  }
}

void HAL_TIM_PeriodElapsedCallback(TIM_HandleTypeDef *htim)
{
  if (htim->Instance == TIM4) {
    HAL_IncTick();
  }
}

void Error_Handler(void)
{
}

/************************ (C) COPYRIGHT STMicroelectronics *****END OF FILE****/
